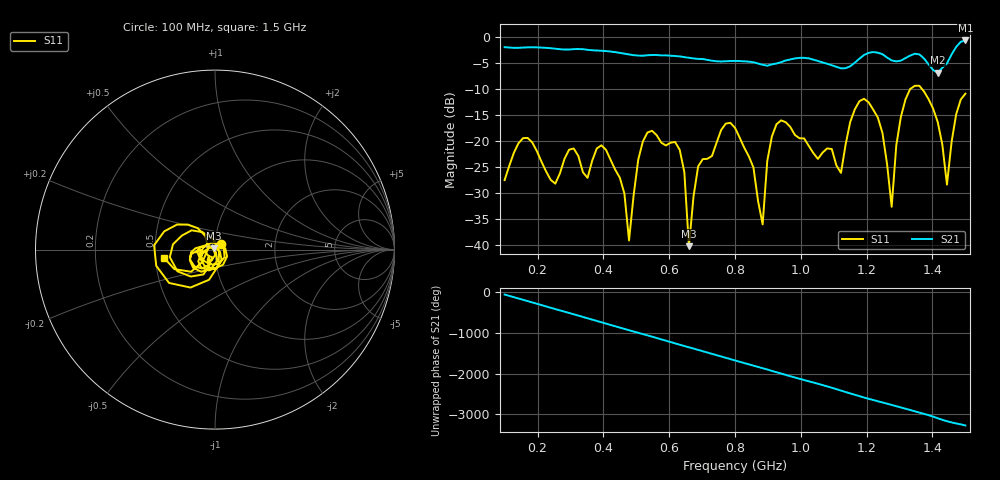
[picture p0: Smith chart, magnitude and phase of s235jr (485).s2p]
! NanoVNA-App
! Date: 2025-09-25 15:07:56
! Start: 100MHz Stop: 1,5GHz Points: 101
! S-Parameter data: F S11 S21 S12 S22
# Hz S RI R 50
!  Frequency  S11_Real  S11_Imag  S21_Real  S21_Imag  S12_Real  S12_Imag  S22_Real  S22_Imag
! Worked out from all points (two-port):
!   101 points, 100 MHz to 1.5 GHz, reference 50 ohm
!   highest |S21| = -0.67 dB at 1.5 GHz (marker M1); lowest = -6.9 dB at 1.416 GHz (marker M2)
!   |S21| within 3 dB of the highest: start of sweep to 621.1 MHz; 1.188 GHz to 1.256 GHz (68.07 MHz wide, 5.57 % of centre) (the widest 2 of 4)
!   lowest |S11| = -40.1 dB at 660 MHz (marker M3), VSWR 1.02, Z = 49.2 + j0.624 ohm
!   |S11| at or under -10 dB: start of sweep to 1.332 GHz; 1.368 GHz to end of sweep
!   S12 and S22 are empty: the file has one direction only
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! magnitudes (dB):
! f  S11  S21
! 100 MHz  -27.5  -2.0
! 156 MHz  -19.4  -2.0
! 338 MHz  -26.0  -2.3
! 408 MHz  -21.7  -2.7
! 478 MHz  -39.0  -3.4
! 520 MHz  -20.1  -3.6
! 576 MHz  -20.3  -3.5
! 632 MHz  -21.7  -3.7
! 660 MHz  -40.1  -4.0
! 688 MHz  -24.8  -4.2
! 800 MHz  -17.4  -4.6
! 884 MHz  -36.0  -5.3
! 926 MHz  -16.8  -5.1
! 1.038 GHz  -22.3  -4.4
! 1.122 GHz  -26.1  -6.0
! 1.192 GHz  -11.9  -3.5
! 1.248 GHz  -18.4  -3.3
! 1.276 GHz  -32.6  -4.5
! 1.332 GHz  -10.0  -3.6
! 1.416 GHz  -16.3  -6.9
! 1.444 GHz  -28.3  -5.1
! 1.5 GHz  -10.9  -0.7
